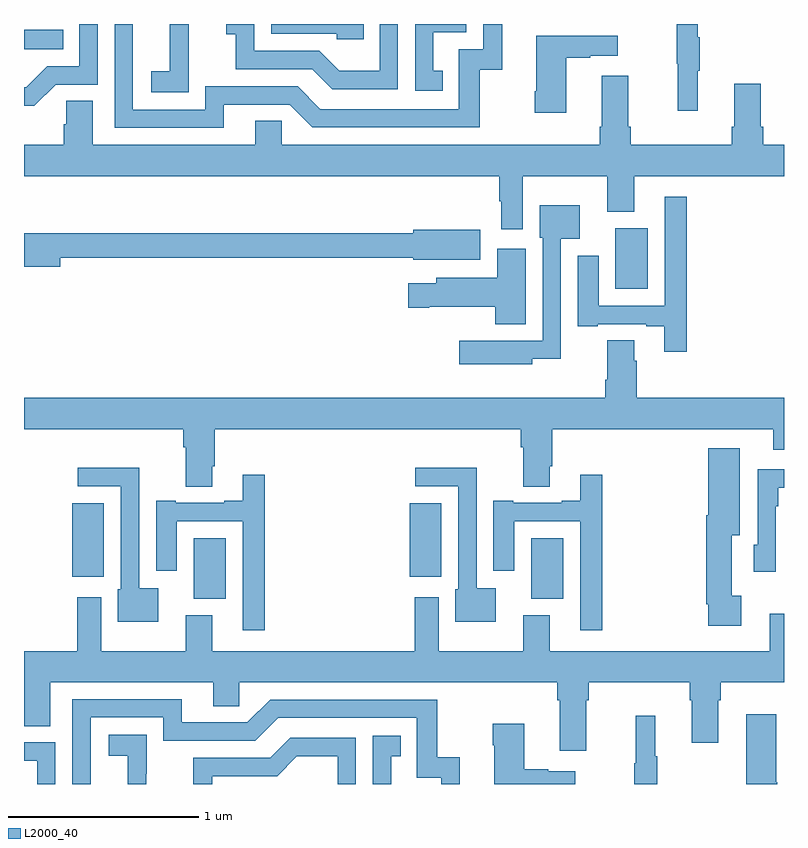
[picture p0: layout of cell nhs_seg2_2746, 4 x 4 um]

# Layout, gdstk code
import gdstk
lib = gdstk.Library(unit=1e-6, precision=1e-09)
def R(c, l, rs):  # rectangles x0, y0, x1, y1
    for r in rs: c.add(gdstk.rectangle(r[:2], r[2:], *l))
def P(c, l, *ps):  # polygons
    for p in ps: c.add(gdstk.Polygon(p, *l))
L2000_40 = (2000, 40)

nhs_seg2_2746 = lib.new_cell('nhs_seg2_2746')
R(nhs_seg2_2746, L2000_40, [(255.893,614.774,256.063,615.094), (257.669,614.774,257.839,615.094), (255.254,614.891,255.421,615.277), (257.03,614.891,257.197,615.277), (258.113,616.406,258.283,616.726), (255,617.666,255.206,617.77)])
P(nhs_seg2_2746, L2000_40, [(257.204,617.553),(257.155,617.553),(257.155,617.757),(257.328,617.757),(257.328,617.8),(257.058,617.8),(257.058,617.448),(257.204,617.448)],
  [(256.051,617.376),(256.398,617.376),(256.518,617.256),(257.398,617.256),(257.398,617.559),(257.516,617.559),(257.516,617.8),(257.418,617.8),(257.418,617.667),(257.289,617.667),(257.289,617.352),(256.56,617.352),(256.44,617.472),(255.954,617.472),(255.954,617.349),(255.573,617.349),(255.573,617.8),(255.477,617.8),(255.477,617.253),(256.051,617.253)],
  [(255.867,617.647),(255.866,617.647),(255.866,617.8),(255.768,617.8),(255.768,617.78),(255.767,617.78),(255.767,617.551),(255.669,617.551),(255.669,617.441),(255.867,617.441)],
  [(256.787,617.8),(256.302,617.8),(256.302,617.748),(256.647,617.748),(256.647,617.721),(256.787,617.721)],
  [(255.168,617.481),(255.387,617.481),(255.387,617.8),(255.291,617.8),(255.291,617.577),(255.122,617.577),(255.011,617.466),(255,617.466),(255,617.369),(255.055,617.369)],
  [(256.968,617.8),(256.872,617.8),(256.872,617.554),(256.658,617.554),(256.554,617.658),(256.212,617.658),(256.212,617.8),(256.065,617.8),(256.065,617.747),(256.114,617.747),(256.114,617.562),(256.517,617.562),(256.622,617.457),(256.968,617.457)],
  [(258.545,617.555),(258.556,617.555),(258.556,617.729),(258.545,617.729),(258.545,617.8),(258.435,617.8),(258.435,617.592),(258.442,617.592),(258.442,617.343),(258.545,617.343)],
  [(257.854,617.623),(257.981,617.623),(257.981,617.633),(258.124,617.633),(258.124,617.737),(257.696,617.737),(257.696,617.446),(257.689,617.446),(257.689,617.334),(257.854,617.334)],
  [(257.626,617),(258.071,617),(258.071,616.811),(258.211,616.811),(258.211,617),(259,617),(259,617.164),(258.89,617.164),(258.89,617.26),(258.877,617.26),(258.877,617.485),(258.737,617.485),(258.737,617.26),(258.725,617.26),(258.725,617.164),(258.194,617.164),(258.194,617.26),(258.181,617.26),(258.181,617.527),(258.041,617.527),(258.041,617.26),(258.029,617.26),(258.029,617.164),(256.356,617.164),(256.356,617.291),(256.217,617.291),(256.217,617.164),(255.361,617.164),(255.361,617.396),(255.222,617.396),(255.222,617.273),(255.209,617.273),(255.209,617.164),(255,617.164),(255,617),(257.501,617),(257.501,616.868),(257.513,616.868),(257.513,616.719),(257.626,616.719)],
  [(258.488,616.891),(258.372,616.891),(258.372,616.317),(258.025,616.317),(258.025,616.579),(257.915,616.579),(257.915,616.209),(258.019,616.209),(258.019,616.221),(258.275,616.221),(258.275,616.209),(258.371,616.209),(258.371,616.074),(258.488,616.074)],
  [(257.676,616.037),(257.826,616.037),(257.826,616.67),(257.926,616.67),(257.926,616.846),(257.714,616.846),(257.714,616.674),(257.73,616.674),(257.73,616.134),(257.514,616.134),(257.514,616.132),(257.291,616.132),(257.291,616.01),(257.676,616.01)],
  [(255.19,616.57),(257.048,616.57),(257.048,616.559),(257.401,616.559),(257.401,616.717),(257.048,616.717),(257.048,616.699),(255,616.699),(255,616.523),(255.19,616.523)],
  [(257.641,616.618),(257.492,616.618),(257.492,616.465),(257.171,616.465),(257.171,616.435),(257.022,616.435),(257.022,616.306),(257.134,616.306),(257.134,616.313),(257.48,616.313),(257.48,616.219),(257.641,616.219)],
  [(255.991,615.472),(256.004,615.472),(256.004,615.668),(257.615,615.668),(257.615,615.572),(257.627,615.572),(257.627,615.364),(257.767,615.364),(257.767,615.472),(257.779,615.472),(257.779,615.668),(258.944,615.668),(258.944,615.558),(259,615.558),(259,615.832),(258.224,615.832),(258.224,616.028),(258.211,616.028),(258.211,616.136),(258.071,616.136),(258.071,615.928),(258.059,615.928),(258.059,615.832),(255,615.832),(255,615.668),(255.839,615.668),(255.839,615.572),(255.851,615.572),(255.851,615.364),(255.991,615.364)],
  [(258.775,614.79),(258.724,614.79),(258.724,615.11),(258.766,615.11),(258.766,615.568),(258.602,615.568),(258.602,615.214),(258.59,615.214),(258.59,614.746),(258.602,614.746),(258.602,614.634),(258.775,614.634)],
  [(257.482,614.83),(257.382,614.83),(257.382,615.464),(257.058,615.464),(257.058,615.366),(257.286,615.366),(257.286,614.826),(257.27,614.826),(257.27,614.654),(257.482,614.654)],
  [(255.706,614.83),(255.606,614.83),(255.606,615.464),(255.282,615.464),(255.282,615.366),(255.51,615.366),(255.51,614.826),(255.494,614.826),(255.494,614.654),(255.706,614.654)],
  [(258.957,615.263),(258.97,615.263),(258.97,615.359),(259,615.359),(259,615.456),(258.861,615.456),(258.861,615.06),(258.84,615.06),(258.84,614.916),(258.957,614.916)],
  [(258.044,615.427),(257.927,615.427),(257.927,615.292),(257.831,615.292),(257.831,615.279),(257.575,615.279),(257.575,615.292),(257.471,615.292),(257.471,614.922),(257.581,614.922),(257.581,615.183),(257.928,615.183),(257.928,614.61),(258.044,614.61)],
  [(256.268,615.427),(256.151,615.427),(256.151,615.292),(256.055,615.292),(256.055,615.279),(255.799,615.279),(255.799,615.292),(255.695,615.292),(255.695,614.922),(255.805,614.922),(255.805,615.183),(256.152,615.183),(256.152,614.61),(256.268,614.61)],
  [(257.959,614.24),(257.972,614.24),(257.972,614.336),(258.503,614.336),(258.503,614.24),(258.515,614.24),(258.515,614.016),(258.655,614.016),(258.655,614.24),(258.668,614.24),(258.668,614.336),(259,614.336),(259,614.695),(258.926,614.695),(258.926,614.5),(257.767,614.5),(257.767,614.689),(257.627,614.689),(257.627,614.5),(257.182,614.5),(257.182,614.782),(257.057,614.782),(257.057,614.5),(255.991,614.5),(255.991,614.689),(255.851,614.689),(255.851,614.5),(255.406,614.5),(255.406,614.782),(255.281,614.782),(255.281,614.5),(255,614.5),(255,614.104),(255.139,614.104),(255.139,614.336),(255.995,614.336),(255.995,614.209),(256.134,614.209),(256.134,614.336),(257.807,614.336),(257.807,614.24),(257.819,614.24),(257.819,613.974),(257.959,613.974)],
  [(255.351,614.151),(255.732,614.151),(255.732,614.028),(256.218,614.028),(256.338,614.148),(257.067,614.148),(257.067,613.833),(257.196,613.833),(257.196,613.8),(257.294,613.8),(257.294,613.942),(257.176,613.942),(257.176,614.244),(256.296,614.244),(256.176,614.124),(255.829,614.124),(255.829,614.247),(255.255,614.247),(255.255,613.8),(255.351,613.8)],
  [(258.964,613.809),(258.959,613.809),(258.959,614.167),(258.8,614.167),(258.8,613.8),(258.964,613.8)],
  [(258.334,613.945),(258.323,613.945),(258.323,614.158),(258.22,614.158),(258.22,613.908),(258.213,613.908),(258.213,613.8),(258.334,613.8)],
  [(257.902,613.867),(257.759,613.867),(257.759,613.877),(257.632,613.877),(257.632,614.116),(257.467,614.116),(257.467,614.003),(257.474,614.003),(257.474,613.8),(257.902,613.8)],
  [(255.644,613.853),(255.645,613.853),(255.645,614.059),(255.447,614.059),(255.447,613.949),(255.545,613.949),(255.545,613.8),(255.644,613.8)],
  [(256.933,613.947),(256.982,613.947),(256.982,614.053),(256.836,614.053),(256.836,613.8),(256.933,613.8)],
  [(255.99,613.842),(256.332,613.842),(256.436,613.946),(256.65,613.946),(256.65,613.8),(256.746,613.8),(256.746,614.043),(256.4,614.043),(256.295,613.938),(255.892,613.938),(255.892,613.8),(255.99,613.8)],
  [(255.165,614.019),(255,614.019),(255,613.923),(255.069,613.923),(255.069,613.8),(255.165,613.8)])

lib.write_gds('nhs_seg2_2746.gds')
